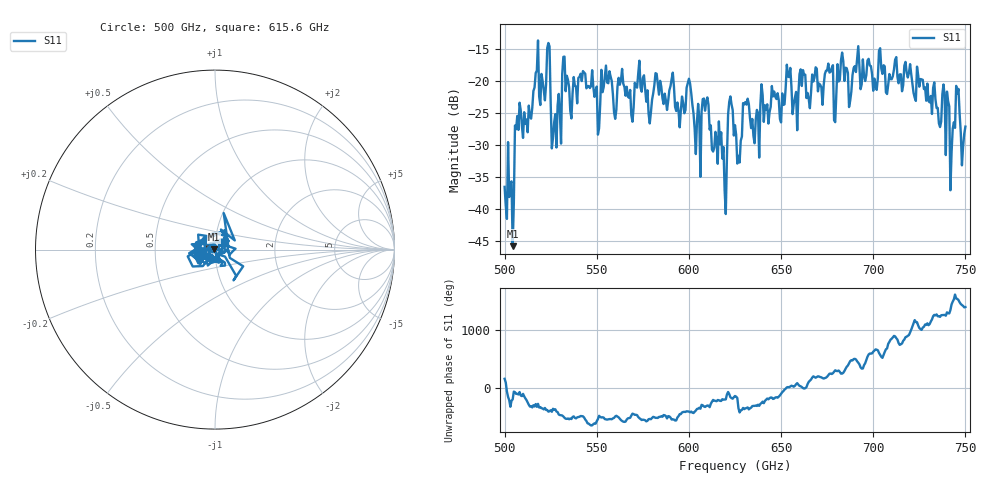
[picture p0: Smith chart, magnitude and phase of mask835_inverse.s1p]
!Created with skrf (http://scikit-rf.org).
# GHz S MA R 50.0
!freq magS11 angS11
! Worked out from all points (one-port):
!   401 points, 500 GHz to 750 GHz, reference 50 ohm
!   lowest |S11| = -45.8 dB at 504.4 GHz (marker M1), VSWR 1.01, Z = 49.5 + j0.218 ohm
!   |S11| at or under -10 dB: start of sweep to end of sweep
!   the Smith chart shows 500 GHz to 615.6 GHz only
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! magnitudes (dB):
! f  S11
! 500 GHz  -36.5
! 504.4 GHz  -45.8
! 506.9 GHz  -25.4
! 513.8 GHz  -25.5
! 516.9 GHz  -18.7
! 523.8 GHz  -14.0
! 526.9 GHz  -26.4
! 531.2 GHz  -18.9
! 542.5 GHz  -18.4
! 550.6 GHz  -28.3
! 562.5 GHz  -20.5
! 579.4 GHz  -24.8
! 590.6 GHz  -19.6
! 593.8 GHz  -23.3
! 600 GHz  -19.6
! 605 GHz  -23.5
! 609.4 GHz  -23.2
! 619.4 GHz  -37.1
! 622.5 GHz  -22.3
! 625 GHz  -26.8
! 656.2 GHz  -25.1
! 683.8 GHz  -16.8
! 687.5 GHz  -23.0
! 718.8 GHz  -19.4
! 739.4 GHz  -31.5
! 743.1 GHz  -27.4
! 745.6 GHz  -21.9
! 750 GHz  -27.1
